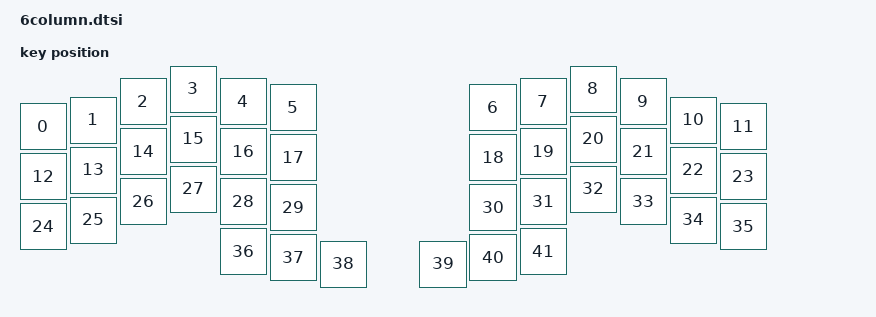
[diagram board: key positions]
#include <layouts/kgoh/jian/position_map.dtsi>
#include <physical_layouts.dtsi>

/ {
    kgoh_jian_6col_layout: kgoh_jian_6col_layout {
        compatible = "zmk,physical-layout";
        display-name = "6 Column";

        keys  //                     w   h    x    y     rot    rx    ry
            = <&key_physical_attrs 100 100    0   75       0     0     0>
            , <&key_physical_attrs 100 100  100   62       0     0     0>
            , <&key_physical_attrs 100 100  200   25       0     0     0>
            , <&key_physical_attrs 100 100  300    0       0     0     0>
            , <&key_physical_attrs 100 100  400   25       0     0     0>
            , <&key_physical_attrs 100 100  500   37       0     0     0>
            , <&key_physical_attrs 100 100  900   37       0     0     0>
            , <&key_physical_attrs 100 100 1000   25       0     0     0>
            , <&key_physical_attrs 100 100 1100    0       0     0     0>
            , <&key_physical_attrs 100 100 1200   25       0     0     0>
            , <&key_physical_attrs 100 100 1300   62       0     0     0>
            , <&key_physical_attrs 100 100 1400   75       0     0     0>
            , <&key_physical_attrs 100 100    0  175       0     0     0>
            , <&key_physical_attrs 100 100  100  162       0     0     0>
            , <&key_physical_attrs 100 100  200  125       0     0     0>
            , <&key_physical_attrs 100 100  300  100       0     0     0>
            , <&key_physical_attrs 100 100  400  125       0     0     0>
            , <&key_physical_attrs 100 100  500  137       0     0     0>
            , <&key_physical_attrs 100 100  900  137       0     0     0>
            , <&key_physical_attrs 100 100 1000  125       0     0     0>
            , <&key_physical_attrs 100 100 1100  100       0     0     0>
            , <&key_physical_attrs 100 100 1200  125       0     0     0>
            , <&key_physical_attrs 100 100 1300  162       0     0     0>
            , <&key_physical_attrs 100 100 1400  175       0     0     0>
            , <&key_physical_attrs 100 100    0  275       0     0     0>
            , <&key_physical_attrs 100 100  100  262       0     0     0>
            , <&key_physical_attrs 100 100  200  225       0     0     0>
            , <&key_physical_attrs 100 100  300  200       0     0     0>
            , <&key_physical_attrs 100 100  400  225       0     0     0>
            , <&key_physical_attrs 100 100  500  237       0     0     0>
            , <&key_physical_attrs 100 100  900  237       0     0     0>
            , <&key_physical_attrs 100 100 1000  225       0     0     0>
            , <&key_physical_attrs 100 100 1100  200       0     0     0>
            , <&key_physical_attrs 100 100 1200  225       0     0     0>
            , <&key_physical_attrs 100 100 1300  262       0     0     0>
            , <&key_physical_attrs 100 100 1400  275       0     0     0>
            , <&key_physical_attrs 100 100  400  325       0     0     0>
            , <&key_physical_attrs 100 100  500  337       0     0     0>
            , <&key_physical_attrs 100 100  600  350       0     0     0>
            , <&key_physical_attrs 100 100  800  350       0     0     0>
            , <&key_physical_attrs 100 100  900  337       0     0     0>
            , <&key_physical_attrs 100 100 1000  325       0     0     0>
        ;
    };
};

&layouts_kgoh_jian_position_map {
    kgoh_jian_6col_posmap: six {
        physical-layout = <&kgoh_jian_6col_layout>;
        positions
            = <42  0  1  2  3  4  5        6  7  8  9 10 11 43>
            , <   12 13 14 15 16 17       18 19 20 21 22 23   >
            , <   24 25 26 27 28 29       30 31 32 33 34 35   >
            , <               36 37 38 39 40 41               >;
    };
};
